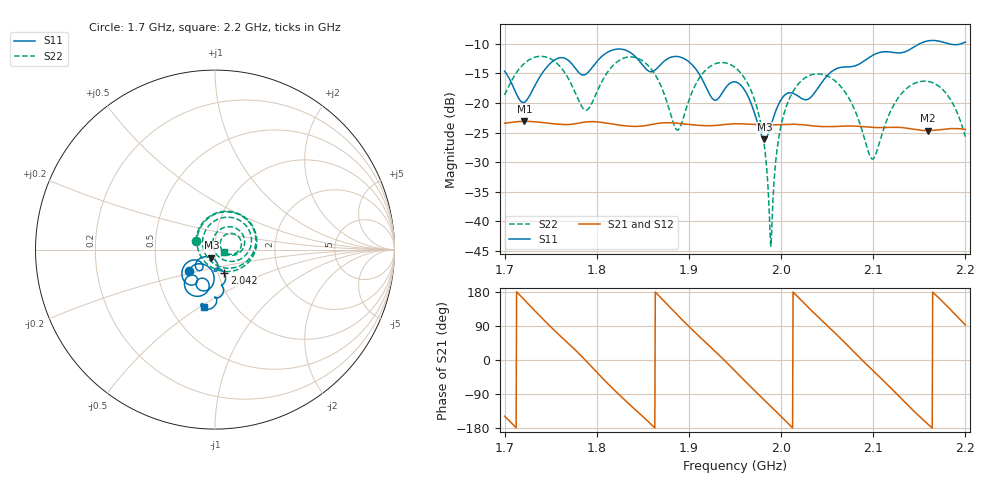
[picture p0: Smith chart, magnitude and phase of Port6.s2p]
# Hz S RI R 50
! CMT, CMT808U, 21440046, 21.4.3/4
! Date: 11/12/2025 3:08:13 PM
! Data: Format (Calibration Info)
! Freq	S11:Re/Im(F2)	S41:Re/Im(F2)	S14:Re/Im(F2)	S44:Re/Im(F2)
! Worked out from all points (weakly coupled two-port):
!   1001 points, 1.7 GHz to 2.2 GHz, reference 50 ohm
!   highest |S21| = -23.12 dB at 1.722 GHz (marker M1); lowest = -24.7 dB at 2.159 GHz (marker M2)
!   lowest |S11| = -26.2 dB at 1.982 GHz (marker M3), VSWR 1.10, Z = 47.9 - j4.32 ohm
!   |S11| at or under -10 dB: start of sweep to 2.151 GHz; 2.181 GHz to 2.196 GHz (14.61 MHz wide, 0.668 % of centre)
!   |S22| runs from -44.2 to -12.1 dB; largest |S21 - S12| = 6.1e-05
!   S11 on the Smith chart (normalised r, x): 1.7 GHz: 0.73, -0.18; 2.042 GHz: 1.07, -0.29; 2.2 GHz: 0.73, -0.52
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1.7e9  -0.1423 -0.1177  -0.0573 -0.0355  -0.0573 -0.0355  -0.1052 0.0503
1.7215e9  -0.0423 -0.0921  -0.065 0.0257  -0.065 0.0257  0.039 0.2119
1.756e9  -0.0515 -0.2287  0.0188 0.0636  0.0188 0.0636  0.2164 -0.0279
1.7835e9  -0.0678 -0.1591  0.0672 0.0119  0.0672 0.0119  -0.0374 -0.086
1.822e9  -0.1229 -0.256  0.00433 -0.0653  0.00433 -0.0652  0.0683 0.2109
1.867e9  -0.0983 -0.1758  -0.0664 0.011  -0.0664 0.011  0.1187 -0.0976
1.888e9  -0.1695 -0.178  -0.0311 0.0597  -0.0312 0.0597  -0.0538 -0.0245
1.917e9  -0.1311 -0.06  0.0422 0.0485  0.0422 0.0485  0.0477 0.1787
1.929e9  -0.0753 -0.0737  0.06 0.0237  0.06 0.0238  0.1436 0.1592
1.95e9  -0.1023 -0.1103  0.0584 -0.0323  0.0584 -0.0322  0.1983 0.0162
1.97e9  -0.0752 -0.0446  0.0139 -0.0644  0.014 -0.0644  0.0918 -0.066
1.982e9  -0.0199 -0.045  -0.0183 -0.0627  -0.0183 -0.0627  0.0189 -0.0381
1.989e9  0.00565 -0.0642  -0.0353 -0.0548  -0.0353 -0.0548  -0.00598 -0.00162
1.9955e9  0.017 -0.089  -0.0487 -0.0436  -0.0486 -0.0436  -0.0127 0.0375
2.003e9  0.013 -0.1136  -0.0601 -0.0267  -0.0601 -0.0267  -0.000898 0.08
2.0335e9  0.0308 -0.11  -0.0406 0.0496  -0.0407 0.0496  0.1384 0.104
2.0425e9  0.0529 -0.1324  -0.0199 0.0601  -0.0199 0.0601  0.1611 0.0688
2.072e9  0.035 -0.198  0.0498 0.04  0.0498 0.04  0.111 -0.03
2.0985e9  0.0428 -0.2457  0.0562 -0.0265  0.0562 -0.0265  0.0326 0.0087
2.117e9  0.0032 -0.2691  0.0225 -0.0579  0.0226 -0.0579  0.0413 0.0675
2.1595e9  -0.0333 -0.3318  -0.0574 -0.0106  -0.0574 -0.0106  0.1467 0.0385
2.2e9  -0.0612 -0.3204  -0.0023 0.0596  -0.00233 0.0596  0.0505 -0.0115
